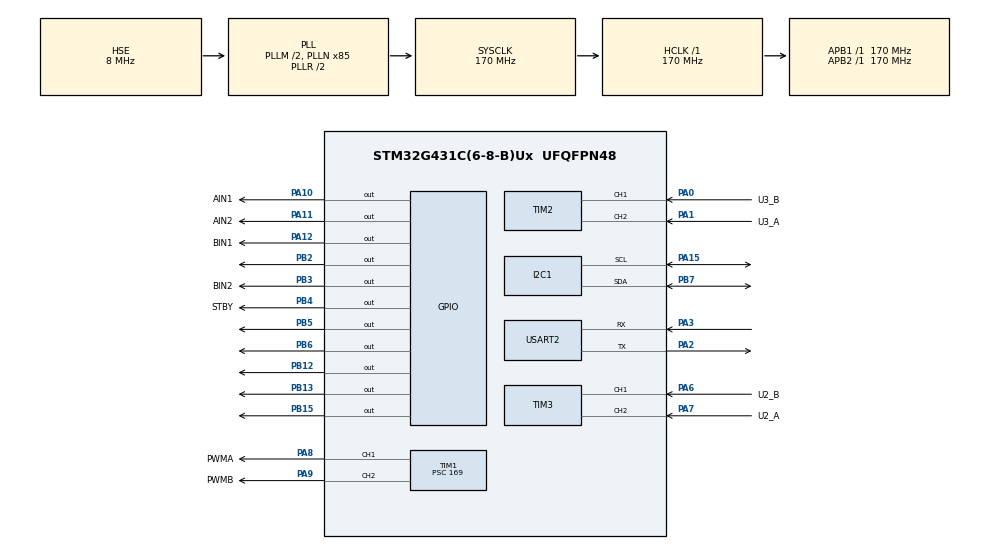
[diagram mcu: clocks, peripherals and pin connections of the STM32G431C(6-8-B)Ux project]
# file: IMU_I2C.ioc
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I2C1.Timing=0x40B285C2
Mcu.Family=STM32G4
Mcu.Name=STM32G431C(6-8-B)Ux
Mcu.Package=UFQFPN48
NVIC.PriorityGroup=NVIC_PRIORITYGROUP_4
PA0.GPIO_Label=U3_B
PA0.GPIO_PuPd=GPIO_PULLDOWN
PA0.Signal=S_TIM2_CH1
PA1.GPIO_Label=U3_A
PA1.GPIO_PuPd=GPIO_PULLDOWN
PA1.Signal=S_TIM2_CH2
PA10.GPIO_Label=AIN1
PA10.Signal=GPIO_Output
PA11.GPIO_Label=AIN2
PA11.Signal=GPIO_Output
PA12.GPIO_Label=BIN1
PA12.Signal=GPIO_Output
PA13.Mode=Serial_Wire
PA13.Signal=SYS_JTMS-SWDIO
PA14.Mode=Serial_Wire
PA14.Signal=SYS_JTCK-SWCLK
PA15.GPIO_Speed=GPIO_SPEED_FREQ_HIGH
PA15.Mode=I2C
PA15.Signal=I2C1_SCL
PA2.Mode=Asynchronous
PA2.Signal=USART2_TX
PA3.Mode=Asynchronous
PA3.Signal=USART2_RX
PA6.GPIO_Label=U2_B
PA6.GPIO_PuPd=GPIO_PULLDOWN
PA6.Signal=S_TIM3_CH1
PA7.GPIO_Label=U2_A
PA7.GPIO_PuPd=GPIO_PULLDOWN
PA7.Signal=S_TIM3_CH2
PA8.GPIO_Label=PWMA
PA8.Signal=S_TIM1_CH1
PA9.GPIO_Label=PWMB
PA9.Signal=S_TIM1_CH2
PB12.GPIO_PuPd=GPIO_PULLDOWN
PB12.Signal=GPIO_Output
PB13.GPIO_PuPd=GPIO_PULLDOWN
PB13.Signal=GPIO_Output
PB15.GPIO_PuPd=GPIO_PULLDOWN
PB15.Signal=GPIO_Output
PB2.GPIO_PuPd=GPIO_PULLDOWN
PB2.Signal=GPIO_Output
PB3.GPIO_Label=BIN2
PB3.Signal=GPIO_Output
PB4.GPIO_Label=STBY
PB4.Signal=GPIO_Output
PB5.GPIO_PuPd=GPIO_PULLDOWN
PB5.Signal=GPIO_Output
PB6.GPIO_PuPd=GPIO_PULLDOWN
PB6.Signal=GPIO_Output
PB7.GPIO_Speed=GPIO_SPEED_FREQ_HIGH
PB7.Mode=I2C
PB7.Signal=I2C1_SDA
PF0-OSC_IN.Mode=HSE-External-Oscillator
PF0-OSC_IN.Signal=RCC_OSC_IN
PF1-OSC_OUT.Mode=HSE-External-Oscillator
PF1-OSC_OUT.Signal=RCC_OSC_OUT
ProjectManager.HeapSize=0x200
ProjectManager.StackSize=0x400
ProjectManager.TargetToolchain=STM32CubeIDE
RCC.ADC12Freq_Value=170000000
RCC.AHBFreq_Value=170000000
RCC.APB1Freq_Value=170000000
RCC.APB1TimFreq_Value=170000000
RCC.APB2Freq_Value=170000000
RCC.APB2TimFreq_Value=170000000
RCC.CortexFreq_Value=170000000
RCC.EXTERNAL_CLOCK_VALUE=12288000
RCC.HCLKFreq_Value=170000000
RCC.HSE_VALUE=8000000
RCC.HSI48_VALUE=48000000
RCC.HSI_VALUE=16000000
RCC.LSE_VALUE=32768
RCC.PLLM=RCC_PLLM_DIV2
RCC.PLLN=85
RCC.PLLSourceVirtual=RCC_PLLSOURCE_HSE
RCC.SYSCLKFreq_VALUE=170000000
RCC.SYSCLKSource=RCC_SYSCLKSOURCE_PLLCLK
RCC.USBFreq_Value=170000000
RCC.VCOOutputFreq_Value=340000000
SH.S_TIM1_CH1.0=TIM1_CH1,PWM Generation1 CH1
SH.S_TIM1_CH2.0=TIM1_CH2,PWM Generation2 CH2
SH.S_TIM2_CH1.0=TIM2_CH1,Encoder_Interface
SH.S_TIM2_CH2.0=TIM2_CH2,Encoder_Interface
SH.S_TIM3_CH1.0=TIM3_CH1,Encoder_Interface
SH.S_TIM3_CH2.0=TIM3_CH2,Encoder_Interface
TIM1.Channel-PWM\ Generation1\ CH1=TIM_CHANNEL_1
TIM1.Channel-PWM\ Generation2\ CH2=TIM_CHANNEL_2
TIM1.PeriodNoDither=1000
TIM1.Prescaler=169
USART2.VirtualMode-Asynchronous=VM_ASYNC
VP_SYS_VS_DBSignals.Mode=DisableDeadBatterySignals
board=custom

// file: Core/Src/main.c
/* USER CODE BEGIN Header */
/**
  ******************************************************************************
  * @file           : main.c
  * @brief          : ISM330DHCX IMU on STM32G431CBU6
  *                   I2C1: SCL=PA15  SDA=PB7
  *                   UART2: TX=PA2   RX=PA3   115200 baud
  ******************************************************************************
  */
/* USER CODE END Header */
#include "main.h"

/* USER CODE BEGIN Includes */
#include "ism330dhcx_i2c.h"
#include <stdio.h>
#include <math.h>
#include "motor.h"
/* USER CODE END Includes */

/* USER CODE BEGIN PD */
#define LPF_ALPHA           0.15f   /* low-pass filter strength 0.0–1.0   */
#define GYRO_DEADBAND_DPS   0.3f    /* gz below this treated as zero      */
#define DEBUG_PRINT_MS      20u    /* UART print interval in ms          */
/* USER CODE END PD */

I2C_HandleTypeDef hi2c1;

TIM_HandleTypeDef htim1;
TIM_HandleTypeDef htim2;
TIM_HandleTypeDef htim3;

UART_HandleTypeDef huart2;

/* USER CODE BEGIN PV */
ISM330_Raw_t      imu_raw;
ISM330_Phys_t     imu_phys;
ISM330_Filtered_t imu_filtered;

float    heading_deg = 0.0f;
uint32_t last_tick   = 0u;
uint32_t last_print  = 0u;

/* Gyro bias — measured at startup, subtracted every read */
float gyro_bias_x = 0.0f;
float gyro_bias_y = 0.0f;
float gyro_bias_z = 0.0f;
/* USER CODE END PV */

void SystemClock_Config(void);
static void MX_GPIO_Init(void);
static void MX_I2C1_Init(void);
static void MX_USART2_UART_Init(void);
static void MX_TIM1_Init(void);
static void MX_TIM2_Init(void);
static void MX_TIM3_Init(void);
/* USER CODE BEGIN PFP */
void IMU_Init(void);
void IMU_CalibrateGyro(void);
void IMU_Read(void);
void IMU_UpdateHeading(void);
void IMU_PrintDebug(void);
int  _write(int fd, char *ptr, int len);

/* USER CODE END PFP */

int main(void)
{

  /* MCU Configuration--------------------------------------------------------*/

  /* Reset of all peripherals, Initializes the Flash interface and the Systick. */
  HAL_Init();

  /* Configure the system clock */
  SystemClock_Config();

  /* Initialize all configured peripherals */
  MX_GPIO_Init();
  MX_I2C1_Init();
  MX_USART2_UART_Init();
  MX_TIM1_Init();
  MX_TIM2_Init();
  MX_TIM3_Init();
  /* USER CODE BEGIN 2 */
  IMU_Init();
  Motor_Init(&htim1);
  IMU_CalibrateGyro();
  last_tick  = HAL_GetTick();
  last_print = HAL_GetTick();
  /* USER CODE END 2 */

  /* Infinite loop */
  /* USER CODE BEGIN WHILE */
  while (1)
  {
//	    IMU_Read();
//	    IMU_UpdateHeading();
//
//	    /* ── TEST SEQUENCE — runs once then stops ── */
//	    HAL_Delay(2000);                          /* 2 sec to place robot  */
//
//	    Motor_Forward(500, 400);                  /* forward ~1 cell       */
//	    HAL_Delay(300);                           /* pause between moves   */
//
//	    Motor_TurnPID(90.0f, &heading_deg,
//	                  IMU_Read, IMU_UpdateHeading); /* turn right 90°      */
//	    HAL_Delay(300);
//
//	    Motor_Forward(500, 400);                  /* forward ~1 cell       */
//	    HAL_Delay(300);
//
//	    Motor_TurnPID(-90.0f, &heading_deg,
//	                  IMU_Read, IMU_UpdateHeading); /* turn left 90°       */
//	    HAL_Delay(300);
//
//	    Motor_Forward(500, 400);                  /* forward ~1 cell       */
//	    HAL_Delay(300);
//
//	    Motor_TurnPID(180.0f, &heading_deg,
//	                  IMU_Read, IMU_UpdateHeading); /* U-turn              */
//
//	    while(1) { IMU_Read(); }                  /* stop here            */

    IMU_Read();          /* wait for data-ready, burst-read, filter */
    IMU_UpdateHeading(); /* integrate gz → heading angle            */
    IMU_PrintDebug();    /* print over UART every 200 ms            */

    /* USER CODE END WHILE */

  }
}

void SystemClock_Config(void)
{
  RCC_OscInitTypeDef RCC_OscInitStruct = {0};
  RCC_ClkInitTypeDef RCC_ClkInitStruct = {0};

  /** Configure the main internal regulator output voltage
  */
  HAL_PWREx_ControlVoltageScaling(PWR_REGULATOR_VOLTAGE_SCALE1_BOOST);

  /** Initializes the RCC Oscillators according to the specified parameters
  * in the RCC_OscInitTypeDef structure.
  */
  RCC_OscInitStruct.OscillatorType = RCC_OSCILLATORTYPE_HSE;
  RCC_OscInitStruct.HSEState = RCC_HSE_ON;
  RCC_OscInitStruct.PLL.PLLState = RCC_PLL_ON;
  RCC_OscInitStruct.PLL.PLLSource = RCC_PLLSOURCE_HSE;
  RCC_OscInitStruct.PLL.PLLM = RCC_PLLM_DIV2;
  RCC_OscInitStruct.PLL.PLLN = 85;
  RCC_OscInitStruct.PLL.PLLP = RCC_PLLP_DIV2;
  RCC_OscInitStruct.PLL.PLLQ = RCC_PLLQ_DIV2;
  RCC_OscInitStruct.PLL.PLLR = RCC_PLLR_DIV2;
  if (HAL_RCC_OscConfig(&RCC_OscInitStruct) != HAL_OK)
  {
    Error_Handler();
  }

  /** Initializes the CPU, AHB and APB buses clocks
  */
  RCC_ClkInitStruct.ClockType = RCC_CLOCKTYPE_HCLK|RCC_CLOCKTYPE_SYSCLK
                              |RCC_CLOCKTYPE_PCLK1|RCC_CLOCKTYPE_PCLK2;
  RCC_ClkInitStruct.SYSCLKSource = RCC_SYSCLKSOURCE_PLLCLK;
  RCC_ClkInitStruct.AHBCLKDivider = RCC_SYSCLK_DIV1;
  RCC_ClkInitStruct.APB1CLKDivider = RCC_HCLK_DIV1;
  RCC_ClkInitStruct.APB2CLKDivider = RCC_HCLK_DIV1;

  if (HAL_RCC_ClockConfig(&RCC_ClkInitStruct, FLASH_LATENCY_4) != HAL_OK)
  {
    Error_Handler();
  }
}

static void MX_I2C1_Init(void)
{

  hi2c1.Instance = I2C1;
  hi2c1.Init.Timing = 0x40B285C2;
  hi2c1.Init.OwnAddress1 = 0;
  hi2c1.Init.AddressingMode = I2C_ADDRESSINGMODE_7BIT;
  hi2c1.Init.DualAddressMode = I2C_DUALADDRESS_DISABLE;
  hi2c1.Init.OwnAddress2 = 0;
  hi2c1.Init.OwnAddress2Masks = I2C_OA2_NOMASK;
  hi2c1.Init.GeneralCallMode = I2C_GENERALCALL_DISABLE;
  hi2c1.Init.NoStretchMode = I2C_NOSTRETCH_DISABLE;
  if (HAL_I2C_Init(&hi2c1) != HAL_OK)
  {
    Error_Handler();
  }

  /** Configure Analogue filter
  */
  if (HAL_I2CEx_ConfigAnalogFilter(&hi2c1, I2C_ANALOGFILTER_ENABLE) != HAL_OK)
  {
    Error_Handler();
  }

  /** Configure Digital filter
  */
  if (HAL_I2CEx_ConfigDigitalFilter(&hi2c1, 0) != HAL_OK)
  {
    Error_Handler();
  }

}

static void MX_TIM1_Init(void)
{

  TIM_MasterConfigTypeDef sMasterConfig = {0};
  TIM_OC_InitTypeDef sConfigOC = {0};
  TIM_BreakDeadTimeConfigTypeDef sBreakDeadTimeConfig = {0};

  htim1.Instance = TIM1;
  htim1.Init.Prescaler = 169;
  htim1.Init.CounterMode = TIM_COUNTERMODE_UP;
  htim1.Init.Period = 1000;
  htim1.Init.ClockDivision = TIM_CLOCKDIVISION_DIV1;
  htim1.Init.RepetitionCounter = 0;
  htim1.Init.AutoReloadPreload = TIM_AUTORELOAD_PRELOAD_DISABLE;
  if (HAL_TIM_PWM_Init(&htim1) != HAL_OK)
  {
    Error_Handler();
  }
  sMasterConfig.MasterOutputTrigger = TIM_TRGO_RESET;
  sMasterConfig.MasterOutputTrigger2 = TIM_TRGO2_RESET;
  sMasterConfig.MasterSlaveMode = TIM_MASTERSLAVEMODE_DISABLE;
  if (HAL_TIMEx_MasterConfigSynchronization(&htim1, &sMasterConfig) != HAL_OK)
  {
    Error_Handler();
  }
  sConfigOC.OCMode = TIM_OCMODE_PWM1;
  sConfigOC.Pulse = 0;
  sConfigOC.OCPolarity = TIM_OCPOLARITY_HIGH;
  sConfigOC.OCNPolarity = TIM_OCNPOLARITY_HIGH;
  sConfigOC.OCFastMode = TIM_OCFAST_DISABLE;
  sConfigOC.OCIdleState = TIM_OCIDLESTATE_RESET;
  sConfigOC.OCNIdleState = TIM_OCNIDLESTATE_RESET;
  if (HAL_TIM_PWM_ConfigChannel(&htim1, &sConfigOC, TIM_CHANNEL_1) != HAL_OK)
  {
    Error_Handler();
  }
  if (HAL_TIM_PWM_ConfigChannel(&htim1, &sConfigOC, TIM_CHANNEL_2) != HAL_OK)
  {
    Error_Handler();
  }
  sBreakDeadTimeConfig.OffStateRunMode = TIM_OSSR_DISABLE;
  sBreakDeadTimeConfig.OffStateIDLEMode = TIM_OSSI_DISABLE;
  sBreakDeadTimeConfig.LockLevel = TIM_LOCKLEVEL_OFF;
  sBreakDeadTimeConfig.DeadTime = 0;
  sBreakDeadTimeConfig.BreakState = TIM_BREAK_DISABLE;
  sBreakDeadTimeConfig.BreakPolarity = TIM_BREAKPOLARITY_HIGH;
  sBreakDeadTimeConfig.BreakFilter = 0;
  sBreakDeadTimeConfig.BreakAFMode = TIM_BREAK_AFMODE_INPUT;
  sBreakDeadTimeConfig.Break2State = TIM_BREAK2_DISABLE;
  sBreakDeadTimeConfig.Break2Polarity = TIM_BREAK2POLARITY_HIGH;
  sBreakDeadTimeConfig.Break2Filter = 0;
  sBreakDeadTimeConfig.Break2AFMode = TIM_BREAK_AFMODE_INPUT;
  sBreakDeadTimeConfig.AutomaticOutput = TIM_AUTOMATICOUTPUT_DISABLE;
  if (HAL_TIMEx_ConfigBreakDeadTime(&htim1, &sBreakDeadTimeConfig) != HAL_OK)
  {
    Error_Handler();
  }
  HAL_TIM_MspPostInit(&htim1);

}

static void MX_TIM2_Init(void)
{

  TIM_Encoder_InitTypeDef sConfig = {0};
  TIM_MasterConfigTypeDef sMasterConfig = {0};

  htim2.Instance = TIM2;
  htim2.Init.Prescaler = 0;
  htim2.Init.CounterMode = TIM_COUNTERMODE_UP;
  htim2.Init.Period = 4294967295;
  htim2.Init.ClockDivision = TIM_CLOCKDIVISION_DIV1;
  htim2.Init.AutoReloadPreload = TIM_AUTORELOAD_PRELOAD_DISABLE;
  sConfig.EncoderMode = TIM_ENCODERMODE_TI1;
  sConfig.IC1Polarity = TIM_ICPOLARITY_RISING;
  sConfig.IC1Selection = TIM_ICSELECTION_DIRECTTI;
  sConfig.IC1Prescaler = TIM_ICPSC_DIV1;
  sConfig.IC1Filter = 0;
  sConfig.IC2Polarity = TIM_ICPOLARITY_RISING;
  sConfig.IC2Selection = TIM_ICSELECTION_DIRECTTI;
  sConfig.IC2Prescaler = TIM_ICPSC_DIV1;
  sConfig.IC2Filter = 0;
  if (HAL_TIM_Encoder_Init(&htim2, &sConfig) != HAL_OK)
  {
    Error_Handler();
  }
  sMasterConfig.MasterOutputTrigger = TIM_TRGO_RESET;
  sMasterConfig.MasterSlaveMode = TIM_MASTERSLAVEMODE_DISABLE;
  if (HAL_TIMEx_MasterConfigSynchronization(&htim2, &sMasterConfig) != HAL_OK)
  {
    Error_Handler();
  }

}

static void MX_TIM3_Init(void)
{

  TIM_Encoder_InitTypeDef sConfig = {0};
  TIM_MasterConfigTypeDef sMasterConfig = {0};

  htim3.Instance = TIM3;
  htim3.Init.Prescaler = 0;
  htim3.Init.CounterMode = TIM_COUNTERMODE_UP;
  htim3.Init.Period = 65535;
  htim3.Init.ClockDivision = TIM_CLOCKDIVISION_DIV1;
  htim3.Init.AutoReloadPreload = TIM_AUTORELOAD_PRELOAD_DISABLE;
  sConfig.EncoderMode = TIM_ENCODERMODE_TI1;
  sConfig.IC1Polarity = TIM_ICPOLARITY_RISING;
  sConfig.IC1Selection = TIM_ICSELECTION_DIRECTTI;
  sConfig.IC1Prescaler = TIM_ICPSC_DIV1;
  sConfig.IC1Filter = 0;
  sConfig.IC2Polarity = TIM_ICPOLARITY_RISING;
  sConfig.IC2Selection = TIM_ICSELECTION_DIRECTTI;
  sConfig.IC2Prescaler = TIM_ICPSC_DIV1;
  sConfig.IC2Filter = 0;
  if (HAL_TIM_Encoder_Init(&htim3, &sConfig) != HAL_OK)
  {
    Error_Handler();
  }
  sMasterConfig.MasterOutputTrigger = TIM_TRGO_RESET;
  sMasterConfig.MasterSlaveMode = TIM_MASTERSLAVEMODE_DISABLE;
  if (HAL_TIMEx_MasterConfigSynchronization(&htim3, &sMasterConfig) != HAL_OK)
  {
    Error_Handler();
  }

}

static void MX_USART2_UART_Init(void)
{

  huart2.Instance = USART2;
  huart2.Init.BaudRate = 115200;
  huart2.Init.WordLength = UART_WORDLENGTH_8B;
  huart2.Init.StopBits = UART_STOPBITS_1;
  huart2.Init.Parity = UART_PARITY_NONE;
  huart2.Init.Mode = UART_MODE_TX_RX;
  huart2.Init.HwFlowCtl = UART_HWCONTROL_NONE;
  huart2.Init.OverSampling = UART_OVERSAMPLING_16;
  huart2.Init.OneBitSampling = UART_ONE_BIT_SAMPLE_DISABLE;
  huart2.Init.ClockPrescaler = UART_PRESCALER_DIV1;
  huart2.AdvancedInit.AdvFeatureInit = UART_ADVFEATURE_NO_INIT;
  if (HAL_UART_Init(&huart2) != HAL_OK)
  {
    Error_Handler();
  }
  if (HAL_UARTEx_SetTxFifoThreshold(&huart2, UART_TXFIFO_THRESHOLD_1_8) != HAL_OK)
  {
    Error_Handler();
  }
  if (HAL_UARTEx_SetRxFifoThreshold(&huart2, UART_RXFIFO_THRESHOLD_1_8) != HAL_OK)
  {
    Error_Handler();
  }
  if (HAL_UARTEx_DisableFifoMode(&huart2) != HAL_OK)
  {
    Error_Handler();
  }

}

static void MX_GPIO_Init(void)
{
  GPIO_InitTypeDef GPIO_InitStruct = {0};

  /* GPIO Ports Clock Enable */
  __HAL_RCC_GPIOF_CLK_ENABLE();
  __HAL_RCC_GPIOA_CLK_ENABLE();
  __HAL_RCC_GPIOB_CLK_ENABLE();

  /*Configure GPIO pin Output Level */
  HAL_GPIO_WritePin(GPIOB, GPIO_PIN_2|GPIO_PIN_12|GPIO_PIN_13|GPIO_PIN_15
                          |BIN2_Pin|STBY_Pin|GPIO_PIN_5|GPIO_PIN_6, GPIO_PIN_RESET);

  /*Configure GPIO pin Output Level */
  HAL_GPIO_WritePin(GPIOA, AIN1_Pin|AIN2_Pin|BIN1_Pin, GPIO_PIN_RESET);

  /*Configure GPIO pins : PB2 PB12 PB13 PB15
                           PB5 PB6 */
  GPIO_InitStruct.Pin = GPIO_PIN_2|GPIO_PIN_12|GPIO_PIN_13|GPIO_PIN_15
                          |GPIO_PIN_5|GPIO_PIN_6;
  GPIO_InitStruct.Mode = GPIO_MODE_OUTPUT_PP;
  GPIO_InitStruct.Pull = GPIO_PULLDOWN;
  GPIO_InitStruct.Speed = GPIO_SPEED_FREQ_LOW;
  HAL_GPIO_Init(GPIOB, &GPIO_InitStruct);

  /*Configure GPIO pins : AIN1_Pin AIN2_Pin BIN1_Pin */
  GPIO_InitStruct.Pin = AIN1_Pin|AIN2_Pin|BIN1_Pin;
  GPIO_InitStruct.Mode = GPIO_MODE_OUTPUT_PP;
  GPIO_InitStruct.Pull = GPIO_NOPULL;
  GPIO_InitStruct.Speed = GPIO_SPEED_FREQ_LOW;
  HAL_GPIO_Init(GPIOA, &GPIO_InitStruct);

  /*Configure GPIO pins : BIN2_Pin STBY_Pin */
  GPIO_InitStruct.Pin = BIN2_Pin|STBY_Pin;
  GPIO_InitStruct.Mode = GPIO_MODE_OUTPUT_PP;
  GPIO_InitStruct.Pull = GPIO_NOPULL;
  GPIO_InitStruct.Speed = GPIO_SPEED_FREQ_LOW;
  HAL_GPIO_Init(GPIOB, &GPIO_InitStruct);

}

/* USER CODE BEGIN 4 */

/* IMU_Init — verify sensor presence, configure ODR and FS.
   Hangs in Error_Handler if sensor not found.
   Address is 0x6B (confirmed by I2C scanner). */
void IMU_Init(void)
{
    ISM330_Status_t status = ISM330_Init(&hi2c1);

    if (status == ISM330_ERR_I2C)
    {
        printf("[IMU] ERROR: I2C no response. Check wiring.\r\n");
        Error_Handler();
    }
    if (status == ISM330_ERR_ID)
    {
        printf("[IMU] ERROR: wrong WHO_AM_I. Check address in .h\r\n");
        Error_Handler();
    }

    ISM330_LPF_Init(&imu_filtered, LPF_ALPHA);
    printf("[IMU] ISM330DHCX ready. ODR=416Hz FS=2g/250dps\r\n");
}

/* IMU_Read — wait for fresh data, read 14 bytes, convert, filter. */
void IMU_Read(void)
{
    ISM330_Status_t status = ISM330_WaitAndRead(&hi2c1, &imu_raw);
    if (status != ISM330_OK) { return; }

    ISM330_ToPhysical(&imu_raw, &imu_phys);

    /* Subtract calibration bias */
    imu_phys.gx -= gyro_bias_x;
    imu_phys.gy -= gyro_bias_y;
    imu_phys.gz -= gyro_bias_z;

    /* Only filter when nearly still — use raw gz during fast turns */
    if (fabsf(imu_phys.gz) > 20.0f)
    {
        /* fast turn — skip filter, use raw value directly */
        imu_filtered.gz = imu_phys.gz;
    }
    else
    {
        /* slow / stationary — apply low-pass filter normally */
        ISM330_LPF_Update(&imu_filtered, &imu_phys);
    }
}

/* IMU_UpdateHeading — integrate filtered gz over time → heading angle.
   Deadband removes slow drift when mouse is stationary. */
void IMU_UpdateHeading(void)
{
    uint32_t now    = HAL_GetTick();
    float    dt_sec = (float)(now - last_tick) / 1000.0f;
    last_tick       = now;

    if (dt_sec > 0.1f) { return; }

    /* Use raw (bias-corrected) gz during fast turns,
       filtered gz when still to suppress drift */
    float gz;
    if (fabsf(imu_phys.gz) > 20.0f)
    {
        gz = imu_phys.gz;   /* fast turn — raw, no lag */
    }
    else
    {
        gz = imu_filtered.gz;   /* slow/still — filtered */
        if (gz > -GYRO_DEADBAND_DPS && gz < GYRO_DEADBAND_DPS) { gz = 0.0f; }
    }

    heading_deg += gz * dt_sec;

    if      (heading_deg >= 360.0f) { heading_deg -= 360.0f; }
    else if (heading_deg <    0.0f) { heading_deg += 360.0f; }
}

/* IMU_PrintDebug — send one UART line every DEBUG_PRINT_MS ms.
   Expected when sitting flat: AZ≈1.000g  GZ≈0.00  HDG≈0.0
   Remove before competition — printf slows the loop. */
void IMU_PrintDebug(void)
{
    if ((HAL_GetTick() - last_print) < DEBUG_PRINT_MS) { return; }
    last_print = HAL_GetTick();

    printf(
        "AX:%6.3f AY:%6.3f AZ:%6.3f g | "
        "GX:%7.2f GY:%7.2f GZ:%7.2f dps | "
        "HDG:%6.1f deg\r\n",
        (double)imu_phys.ax, (double)imu_phys.ay, (double)imu_phys.az,
        (double)imu_phys.gx, (double)imu_phys.gy, (double)imu_phys.gz,
        (double)heading_deg
    );
}

/* _write — redirects printf to USART2 (PA2 TX pin). */
int _write(int fd, char *ptr, int len)
{
    (void)fd;
    HAL_UART_Transmit(&huart2, (uint8_t *)ptr, (uint16_t)len, 100u);
    return len;
}

/* Gyro calibration — call once at startup, mouse must be STILL.
   Reads 200 samples and averages them → that average IS the bias.
   All subsequent readings subtract this offset. */
void IMU_CalibrateGyro(void)
{
    printf("[IMU] Calibrating gyro — keep mouse still...\r\n");

    float sum_x = 0.0f, sum_y = 0.0f, sum_z = 0.0f;
    int   samples = 200;

    for (int i = 0; i < samples; i++)
    {
        ISM330_WaitAndRead(&hi2c1, &imu_raw);
        ISM330_ToPhysical(&imu_raw, &imu_phys);
        sum_x += imu_phys.gx;
        sum_y += imu_phys.gy;
        sum_z += imu_phys.gz;
        HAL_Delay(5);
    }

    gyro_bias_x = sum_x / (float)samples;
    gyro_bias_y = sum_y / (float)samples;
    gyro_bias_z = sum_z / (float)samples;

    printf("[IMU] Bias: GX=%.4f GY=%.4f GZ=%.4f dps\r\n",
           (double)gyro_bias_x,
           (double)gyro_bias_y,
           (double)gyro_bias_z);
}

/* USER CODE END 4 */

void Error_Handler(void)
{
  __disable_irq();
  while (1)
  {
  }
}
